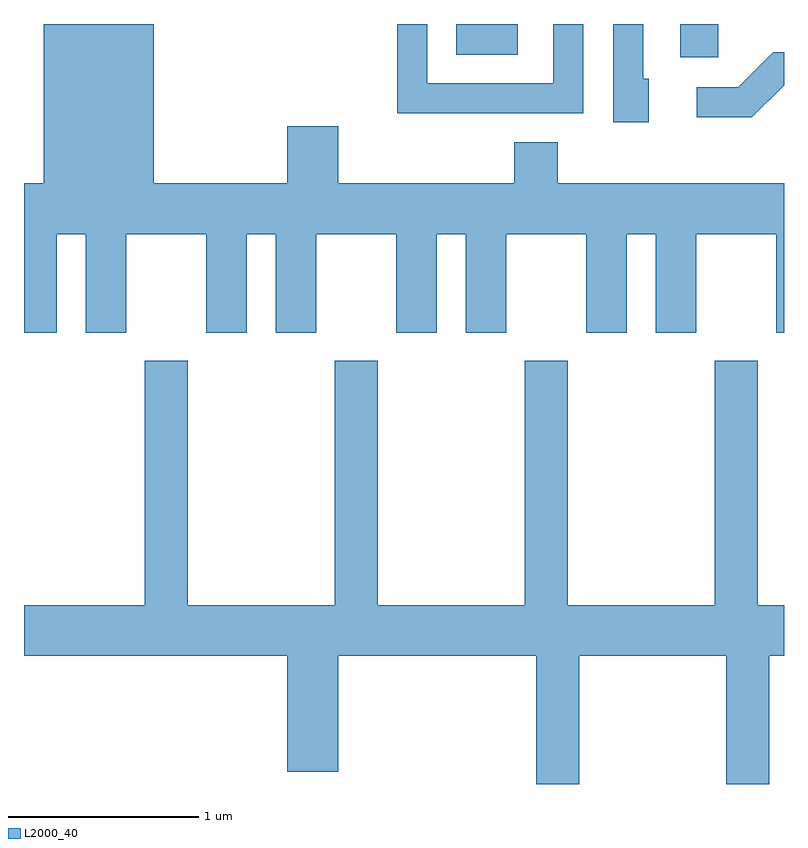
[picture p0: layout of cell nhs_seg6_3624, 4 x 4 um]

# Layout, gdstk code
import gdstk
lib = gdstk.Library(unit=1e-6, precision=1e-09)
def R(c, l, rs):  # rectangles x0, y0, x1, y1
    for r in rs: c.add(gdstk.rectangle(r[:2], r[2:], *l))
def P(c, l, *ps):  # polygons
    for p in ps: c.add(gdstk.Polygon(p, *l))
L2000_40 = (2000, 40)

nhs_seg6_3624 = lib.new_cell('nhs_seg6_3624')
R(nhs_seg6_3624, L2000_40, [(297.066,1641.986,297.264,1642.162), (295.886,1642.001,296.209,1642.162)])
P(nhs_seg6_3624, L2000_40, [(296.899,1641.874),(296.869,1641.874),(296.869,1642.162),(296.711,1642.162),(296.711,1641.646),(296.899,1641.646)],
  [(296.554,1642.162),(296.396,1642.162),(296.396,1641.849),(295.734,1641.849),(295.734,1642.162),(295.576,1642.162),(295.576,1641.691),(296.554,1641.691)],
  [(293.784,1641.056),(293.936,1641.056),(293.936,1640.536),(294.149,1640.536),(294.149,1641.056),(294.571,1641.056),(294.571,1640.536),(294.784,1640.536),(294.784,1641.056),(294.936,1641.056),(294.936,1640.536),(295.149,1640.536),(295.149,1641.056),(295.571,1641.056),(295.571,1640.536),(295.784,1640.536),(295.784,1641.056),(295.936,1641.056),(295.936,1640.536),(296.149,1640.536),(296.149,1641.056),(296.571,1641.056),(296.571,1640.536),(296.784,1640.536),(296.784,1641.056),(296.936,1641.056),(296.936,1640.536),(297.149,1640.536),(297.149,1641.056),(297.571,1641.056),(297.571,1640.536),(297.611,1640.536),(297.611,1641.324),(296.419,1641.324),(296.419,1641.539),(296.191,1641.539),(296.191,1641.324),(295.264,1641.324),(295.264,1641.624),(294.996,1641.624),(294.996,1641.324),(294.294,1641.324),(294.294,1642.162),(293.716,1642.162),(293.716,1641.324),(293.611,1641.324),(293.611,1640.536),(293.784,1640.536)],
  [(297.611,1641.84),(297.611,1642.014),(297.554,1642.014),(297.369,1641.829),(297.153,1641.829),(297.153,1641.671),(297.442,1641.671)],
  [(296.534,1638.836),(297.306,1638.836),(297.306,1638.162),(297.534,1638.162),(297.534,1638.836),(297.611,1638.836),(297.611,1639.104),(297.474,1639.104),(297.474,1640.389),(297.246,1640.389),(297.246,1639.104),(296.474,1639.104),(296.474,1640.389),(296.246,1640.389),(296.246,1639.104),(295.474,1639.104),(295.474,1640.389),(295.246,1640.389),(295.246,1639.104),(294.474,1639.104),(294.474,1640.389),(294.246,1640.389),(294.246,1639.104),(293.611,1639.104),(293.611,1638.836),(294.996,1638.836),(294.996,1638.226),(295.264,1638.226),(295.264,1638.836),(296.306,1638.836),(296.306,1638.162),(296.534,1638.162)])

lib.write_gds('nhs_seg6_3624.gds')
